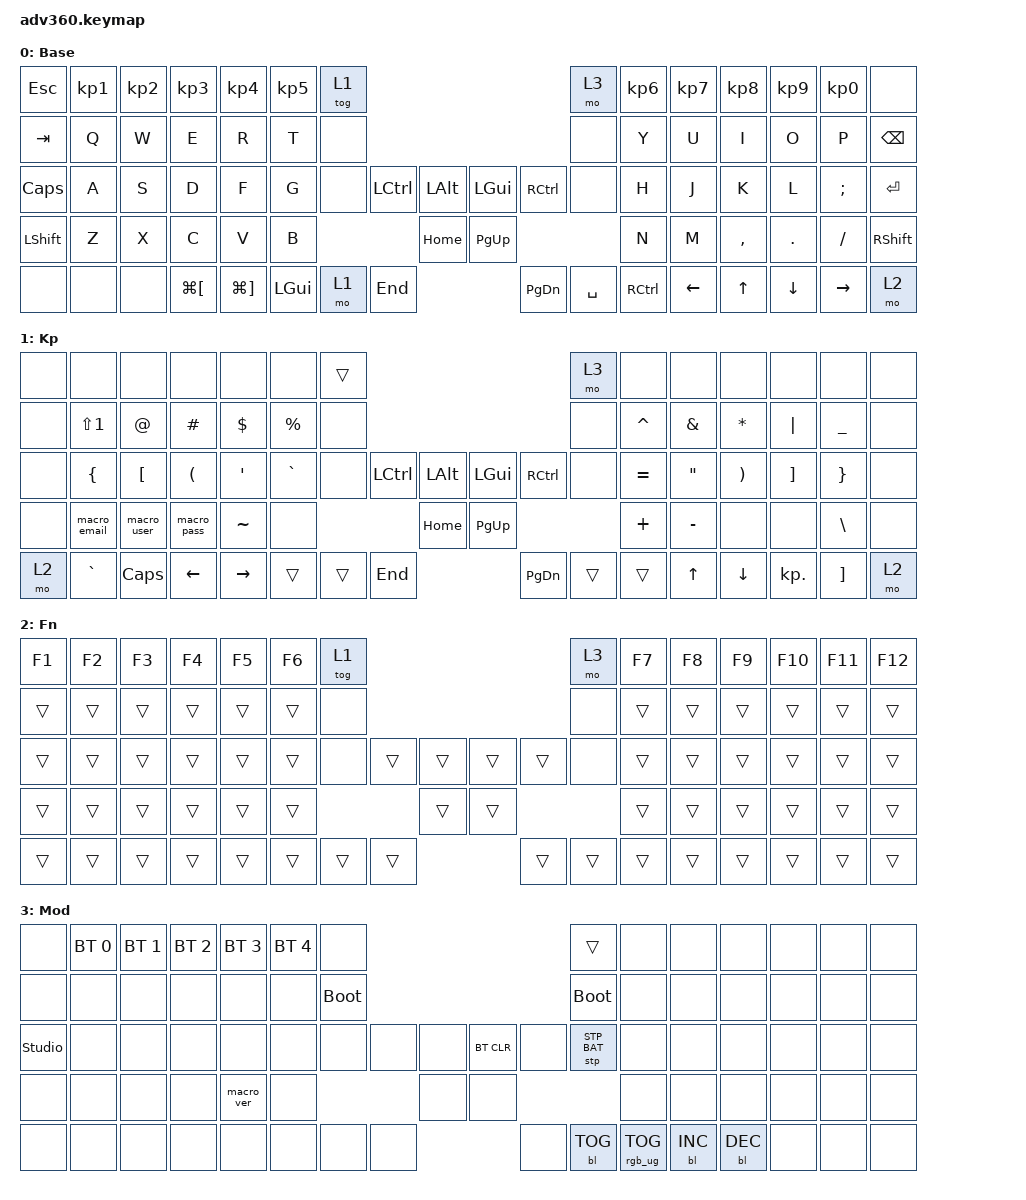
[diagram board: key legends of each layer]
#include <behaviors.dtsi>
#include <dt-bindings/zmk/keys.h>
#include <dt-bindings/zmk/bt.h>
#include <dt-bindings/zmk/rgb.h>
#include <dt-bindings/zmk/stp.h>
#include <dt-bindings/zmk/backlight.h>
#include <dt-bindings/zmk/pointing.h>

/ {
    behaviors {
      #include "macros.dtsi"
      #include "version.dtsi"

      hm: homerow_mods {
          compatible = "zmk,behavior-hold-tap";
          label = "HOMEROW_MODS";
          #binding-cells = <2>;
          tapping-term-ms = <200>;
          quick_tap_ms = <175>;
          flavor = "tap-preferred";
          bindings = <&kp>, <&kp>;
      };
    };

  keymap {
    compatible = "zmk,keymap";

    default_layer {
      display-name = "Base";
      bindings = <
        &kp ESC     &kp KP_N1    &kp KP_N2   &kp KP_N3    &kp KP_N4     &kp KP_N5   &tog 1                                                           &mo 3        &kp KP_N6   &kp KP_N7   &kp KP_N8    &kp KP_N9   &kp KP_N0    &none
        &kp TAB     &kp Q        &kp W       &kp E        &kp R         &kp T       &none                                                            &none        &kp Y       &kp U       &kp I        &kp O       &kp P        &kp BSPC
        &kp CAPS    &kp A        &kp S       &kp D        &kp F         &kp G       &none          &kp LCTRL &kp LALT &kp LGUI  &kp RCTRL            &none        &kp H       &kp J       &kp K        &kp L       &kp SEMI     &kp ENTER
        &kp LSHFT   &kp Z        &kp X       &kp C        &kp V         &kp B                                &kp HOME &kp PG_UP                                   &kp N       &kp M       &kp COMMA    &kp DOT     &kp FSLH     &kp RSHFT
        &none       &none        &none       &kp LG(LBKT) &kp LG(RBKT)                    &kp LGUI &mo 1     &kp END  &kp PG_DN &kp SPACE &kp RCTRL                           &kp LEFT    &kp UP       &kp DOWN    &kp RIGHT    &mo 2
      >;
    };
    keypad {
      display-name = "Kp";
      bindings = <
        &none       &none        &none       &none        &none         &none       &trans                                                           &mo 3        &none       &none       &none        &none       &none        &none
        &none       &kp LS(N1)   &kp AT      &kp HASH     &kp DLLR      &kp PRCNT   &none                                                            &none        &kp CARET   &kp AMPS    &kp ASTRK    &kp PIPE    &kp UNDER    &none
        &none       &kp LBRC     &kp LBKT    &kp LPAR     &kp APOS      &kp GRAVE   &none          &kp LCTRL &kp LALT &kp LGUI  &kp RCTRL            &none        &kp EQUAL   &kp DQT     &kp RPAR     &kp RBKT    &kp RBRC     &none
        &none       &macro_email &macro_user &macro_pass  &kp TILDE     &none                                &kp HOME &kp PG_UP                                   &kp PLUS    &kp MINUS   &none        &none       &kp BSLH     &none
        &mo 2       &kp GRAVE    &kp CAPS    &kp LEFT     &kp RIGHT                        &trans  &trans    &kp END  &kp PG_DN &trans     &trans                             &kp UP      &kp DOWN     &kp KP_DOT  &kp RBKT     &mo 2
      >;
    };
    fn {
      display-name = "Fn";
      bindings = <
        &kp F1 &kp F2 &kp F3 &kp F4 &kp F5 &kp F6 &tog 1                                           &mo 3 &kp F7 &kp F8 &kp F9 &kp F10 &kp F11 &kp F12
        &trans &trans &trans &trans &trans &trans  &none                                           &none &trans &trans &trans &trans  &trans  &trans
        &trans &trans &trans &trans &trans &trans  &none        &trans &trans &trans &trans        &none &trans &trans &trans &trans  &trans  &trans
        &trans &trans &trans &trans &trans &trans                      &trans &trans                     &trans &trans &trans &trans  &trans  &trans
        &trans &trans &trans &trans &trans               &trans &trans &trans &trans &trans &trans              &trans &trans &trans  &trans  &trans
      >;
    };
    mod {
      display-name = "Mod";
      bindings = <
        &none &bt BT_SEL 0 &bt BT_SEL 1 &bt BT_SEL 2 &bt BT_SEL 3 &bt BT_SEL 4 &none                                                                     &trans                 &none        &none        &none        &none &none &none
        &none &none        &none        &none        &none        &none        &bootloader                                                               &bootloader            &none        &none        &none        &none &none &none
        &studio_unlock &none        &none        &none        &none        &none        &none                   &none &none &bt BT_CLR &none                      &stp STP_BAT &none        &none        &none        &none &none &none
        &none &none        &none        &none        &macro_ver   &none                                      &none &none                                                        &none        &none        &none        &none &none &none
        &none &none        &none        &none        &none                                       &none &none &none &none      &bl BL_TOG &rgb_ug RGB_TOG                                     &bl BL_INC   &bl BL_DEC   &none &none &none
      >;
    };
    extra1 {
      display-name = "Red";
      status = "reserved";
    };

    extra2 {
      display-name = "Purple";
      status = "reserved";
    };

    extra3 {
      display-name = "Cyan";
      status = "reserved";
    };

    extra4 {
      display-name = "Yellow";
      status = "reserved";
    };
  };
};
